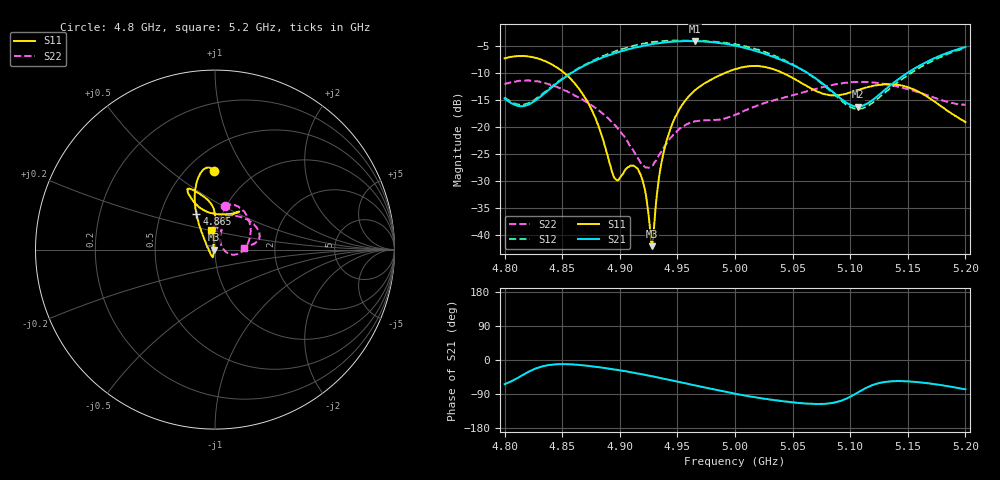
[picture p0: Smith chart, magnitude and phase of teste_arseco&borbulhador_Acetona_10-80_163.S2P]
! Network Analyzer HP8722D
! Hewlett-Packard
! Data name: Linha & Wilkinson
! Saver's name: Rodrigo Anjos
! Comments: Teste da utilização de aquisição
! continua pelo VNA HP8722D
! Time and date: 25/4/2025 16:37
!  Frequency  S11  S21  S12  S22
# HZ  S  MA R 50
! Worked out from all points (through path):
!   401 points, 4.8 GHz to 5.2 GHz, reference 50 ohm
!   highest |S21| = -3.98 dB at 4.965 GHz (marker M1); lowest = -16.2 dB at 5.107 GHz (marker M2)
!   lowest |S11| = -42.0 dB at 4.928 GHz (marker M3), VSWR 1.02, Z = 49.2 + j0.0493 ohm
!   |S11| at or under -10 dB: 4.852 GHz to 4.99 GHz (138 MHz wide, 2.8 % of centre); 5.042 GHz to end of sweep
!   |S22| runs from -27.5 to -11.3 dB; largest |S21 - S12| = 1.2
!   S11 on the Smith chart (normalised r, x): 4.8 GHz: 0.67, +0.73; 4.865 GHz: 0.75, +0.32; 5.2 GHz: 0.94, +0.21
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4.8e9  0.4361 90.8  0.1854 -63.8  0.1906 69.7  0.249 77.5
4.82e9  0.4545 97.1  0.1613 -32.3  0.167 98.6  0.273 61.6
4.845e9  0.3609 107.5  0.2548 -11.3  0.2585 119.4  0.238 34.7
4.865e9  0.2252 117.3  0.3532 -13.0  0.3587 120.9  0.188 11.1
4.867e9  0.2102 118.5  0.3633 -13.7  0.3674 120.8  0.183 8.8
4.88e9  0.1128 128.7  0.4223 -18.5  0.4333 118.4  0.1479 -5.0
4.896e9  0.03336 -167.5  0.4883 -25.3  0.5062 113.3  0.1045 -15.6
4.91e9  0.04434 -107.9  0.5375 -32.5  0.5629 107.1  0.06464 -13.5
4.917e9  0.03831 -104.6  0.5611 -36.3  0.5887 103.5  0.04934 -0.8
4.922e9  0.02577 -109.1  0.5745 -39.3  0.6027 100.8  0.04273 16.4
4.928e9  0.00792 176.4  0.5917 -42.9  0.6178 97.1  0.04385 40.8
4.934e9  0.03413 100.7  0.6027 -46.7  0.6281 93.3  0.05543 57.9
4.939e9  0.06438 93.7  0.6142 -49.8  0.6345 90.0  0.06762 65.1
4.946e9  0.1107 90.3  0.6228 -54.3  0.6387 85.6  0.08423 69.7
4.965e9  0.2191 91.2  0.6322 -67.0  0.636 73.5  0.114 71.5
5e9  0.346 109.2  0.5716 -89.0  0.5917 50.7  0.131 88.2
5.03e9  0.3548 115.3  0.463 -104.2  0.481 33.9  0.1735 85.3
5.067e9  0.2268 105.5  0.3003 -115.8  0.2974 23.6  0.2222 57.2
5.107e9  0.2223 64.3  0.1557 -85.1  0.1478 58.0  0.2641 24.2
5.134e9  0.2511 57.6  0.2413 -56.7  0.2265 88.7  0.2481 12.4
5.169e9  0.1863 70.3  0.4182 -62.0  0.4011 84.9  0.1946 6.9
5.2e9  0.1119 100.9  0.554 -77.4  0.5441 70.2  0.1617 3.8
